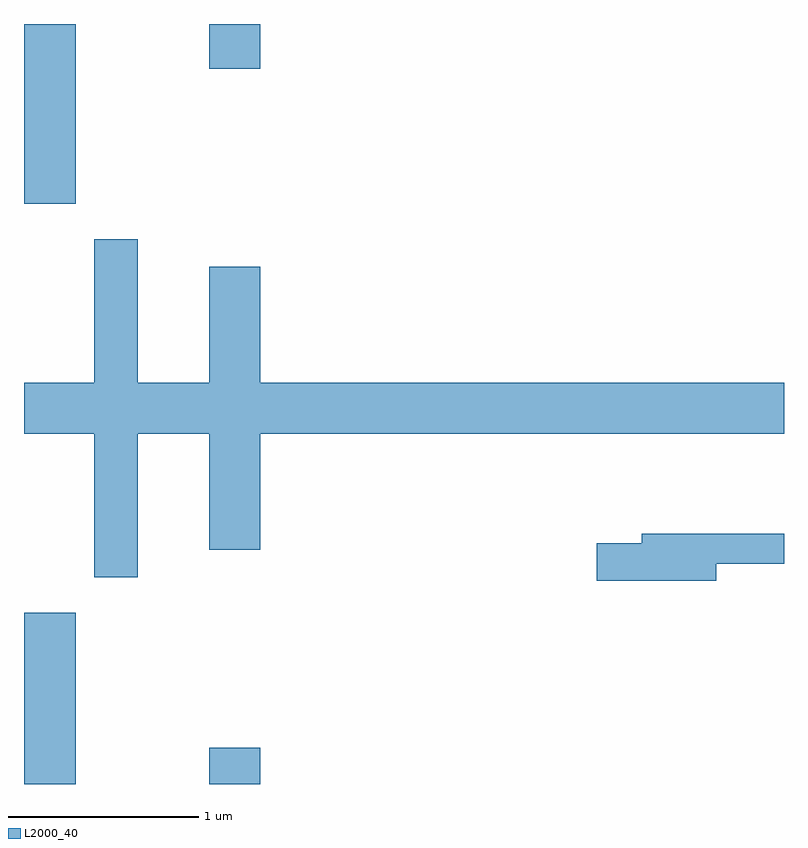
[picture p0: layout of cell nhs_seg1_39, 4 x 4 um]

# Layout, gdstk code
import gdstk
lib = gdstk.Library(unit=1e-6, precision=1e-09)
def R(c, l, rs):  # rectangles x0, y0, x1, y1
    for r in rs: c.add(gdstk.rectangle(r[:2], r[2:], *l))
def P(c, l, *ps):  # polygons
    for p in ps: c.add(gdstk.Polygon(p, *l))
L2000_40 = (2000, 40)

nhs_seg1_39 = lib.new_cell('nhs_seg1_39')
R(nhs_seg1_39, L2000_40, [(185.611,917.712,185.884,918.614), (186.586,917.712,186.854,917.904), (185.611,920.766,185.884,921.712), (186.586,921.476,186.854,921.712)])
P(nhs_seg1_39, L2000_40, [(186.209,919.556),(186.586,919.556),(186.586,918.946),(186.854,918.946),(186.854,919.556),(189.611,919.556),(189.611,919.824),(186.854,919.824),(186.854,920.434),(186.586,920.434),(186.586,919.824),(186.209,919.824),(186.209,920.579),(185.981,920.579),(185.981,919.824),(185.611,919.824),(185.611,919.556),(185.981,919.556),(185.981,918.801),(186.209,918.801)],
  [(189.254,918.871),(189.611,918.871),(189.611,919.029),(188.861,919.029),(188.861,918.979),(188.626,918.979),(188.626,918.781),(189.254,918.781)])

lib.write_gds('nhs_seg1_39.gds')
